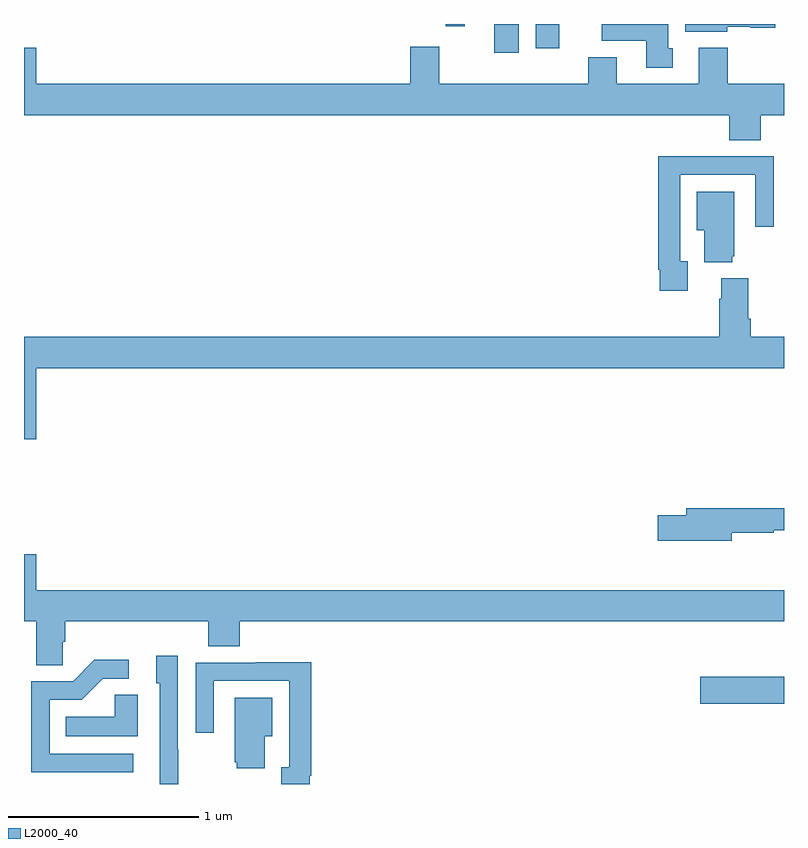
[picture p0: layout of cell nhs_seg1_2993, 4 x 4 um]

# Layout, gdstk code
import gdstk
lib = gdstk.Library(unit=1e-6, precision=1e-09)
def R(c, l, rs):  # rectangles x0, y0, x1, y1
    for r in rs: c.add(gdstk.rectangle(r[:2], r[2:], *l))
def P(c, l, *ps):  # polygons
    for p in ps: c.add(gdstk.Polygon(p, *l))
L2000_40 = (2000, 40)

nhs_seg1_2993 = lib.new_cell('nhs_seg1_2993')
R(nhs_seg1_2993, L2000_40, [(276.558,560.621,277,560.763), (275.474,564.048,275.605,564.199), (275.693,564.072,275.818,564.199)])
P(nhs_seg1_2993, L2000_40, [(276.702,564.185),(276.822,564.185),(276.822,564.178),(276.955,564.178),(276.955,564.199),(276.479,564.199),(276.479,564.158),(276.702,564.158)],
  [(275.319,564.199),(274.778,564.199),(274.778,564.198),(275.219,564.198),(275.219,564.186),(275.319,564.186)],
  [(276.415,564.072),(276.391,564.072),(276.391,564.199),(276.04,564.199),(276.04,564.11),(276.275,564.11),(276.275,563.97),(276.415,563.97)],
  [(275.969,564.025),(275.969,563.884),(275.185,563.884),(275.185,564.079),(275.033,564.079),(275.033,563.884),(273.064,563.884),(273.064,564.073),(273,564.073),(273,563.72),(276.713,563.72),(276.713,563.587),(276.878,563.587),(276.878,563.72),(277,563.72),(277,563.884),(276.704,563.884),(276.704,564.073),(276.551,564.073),(276.551,563.884),(276.121,563.884),(276.121,564.025)],
  [(276.493,562.95),(276.453,562.95),(276.453,563.406),(276.849,563.406),(276.849,563.133),(276.945,563.133),(276.945,563.502),(276.629,563.502),(276.629,563.504),(276.337,563.504),(276.337,562.906),(276.345,562.906),(276.345,562.794),(276.493,562.794)],
  [(276.728,562.977),(276.739,562.977),(276.739,563.317),(276.542,563.317),(276.542,563.114),(276.581,563.114),(276.581,562.946),(276.728,562.946)],
  [(273.064,562.388),(277,562.388),(277,562.552),(276.824,562.552),(276.824,562.648),(276.811,562.648),(276.811,562.861),(276.671,562.861),(276.671,562.754),(276.659,562.754),(276.659,562.552),(273,562.552),(273,562.014),(273.064,562.014)],
  [(276.724,561.522),(276.947,561.522),(276.947,561.534),(277,561.534),(277,561.65),(276.485,561.65),(276.485,561.614),(276.336,561.614),(276.336,561.479),(276.724,561.479)],
  [(273.204,560.947),(273.218,560.947),(273.218,561.056),(273.971,561.056),(273.971,560.923),(274.136,560.923),(274.136,561.056),(277,561.056),(277,561.22),(273.064,561.22),(273.064,561.409),(273,561.409),(273,561.056),(273.065,561.056),(273.065,560.824),(273.204,560.824)],
  [(273.813,560.381),(273.81,560.381),(273.81,560.875),(273.695,560.875),(273.695,560.73),(273.714,560.73),(273.714,560.199),(273.813,560.199)],
  [(273.574,560.358),(273.135,560.358),(273.135,560.643),(273.304,560.643),(273.415,560.754),(273.55,560.754),(273.55,560.852),(273.371,560.852),(273.258,560.739),(273.039,560.739),(273.039,560.262),(273.574,560.262)],
  [(274.504,560.242),(274.511,560.242),(274.511,560.84),(274.219,560.84),(274.219,560.838),(273.903,560.838),(273.903,560.469),(273.999,560.469),(273.999,560.742),(274.395,560.742),(274.395,560.286),(274.355,560.286),(274.355,560.199),(274.504,560.199)],
  [(273.598,560.669),(273.477,560.669),(273.477,560.554),(273.22,560.554),(273.22,560.45),(273.598,560.45)],
  [(274.267,560.45),(274.306,560.45),(274.306,560.653),(274.109,560.653),(274.109,560.313),(274.121,560.313),(274.121,560.282),(274.267,560.282)])

lib.write_gds('nhs_seg1_2993.gds')
